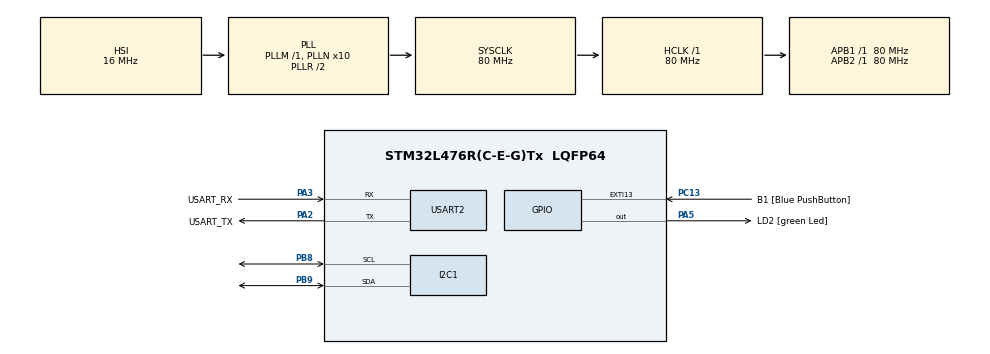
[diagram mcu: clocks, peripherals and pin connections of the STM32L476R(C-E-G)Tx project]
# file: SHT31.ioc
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I2C1.Timing=0x10D19CE4
Mcu.Family=STM32L4
Mcu.Name=STM32L476R(C-E-G)Tx
Mcu.Package=LQFP64
NVIC.PriorityGroup=NVIC_PRIORITYGROUP_4
PA13\ (JTMS-SWDIO).GPIO_Label=TMS
PA13\ (JTMS-SWDIO).Mode=Serial_Wire
PA13\ (JTMS-SWDIO).Signal=SYS_JTMS-SWDIO
PA14\ (JTCK-SWCLK).GPIO_Label=TCK
PA14\ (JTCK-SWCLK).Mode=Serial_Wire
PA14\ (JTCK-SWCLK).Signal=SYS_JTCK-SWCLK
PA2.GPIO_Label=USART_TX
PA2.GPIO_Mode=GPIO_MODE_AF_PP
PA2.GPIO_PuPd=GPIO_NOPULL
PA2.GPIO_Speed=GPIO_SPEED_FREQ_VERY_HIGH
PA2.Mode=Asynchronous
PA2.Signal=USART2_TX
PA3.GPIO_Label=USART_RX
PA3.GPIO_Mode=GPIO_MODE_AF_PP
PA3.GPIO_PuPd=GPIO_NOPULL
PA3.GPIO_Speed=GPIO_SPEED_FREQ_VERY_HIGH
PA3.Mode=Asynchronous
PA3.Signal=USART2_RX
PA5.GPIO_Label=LD2 [green Led]
PA5.GPIO_ModeDefaultOutputPP=GPIO_MODE_OUTPUT_PP
PA5.GPIO_PuPd=GPIO_NOPULL
PA5.GPIO_Speed=GPIO_SPEED_FREQ_LOW
PA5.Signal=GPIO_Output
PB3\ (JTDO-TRACESWO).GPIO_Label=SWO
PB3\ (JTDO-TRACESWO).Signal=SYS_JTDO-SWO
PB8.Mode=I2C
PB8.Signal=I2C1_SCL
PB9.Mode=I2C
PB9.Signal=I2C1_SDA
PC13.GPIO_Label=B1 [Blue PushButton]
PC13.GPIO_ModeDefaultEXTI=GPIO_MODE_IT_FALLING
PC13.GPIO_PuPd=GPIO_NOPULL
PC13.Signal=GPXTI13
PC14-OSC32_IN\ (PC14).Mode=LSE-External-Oscillator
PC14-OSC32_IN\ (PC14).Signal=RCC_OSC32_IN
PC15-OSC32_OUT\ (PC15).Mode=LSE-External-Oscillator
PC15-OSC32_OUT\ (PC15).Signal=RCC_OSC32_OUT
PH0-OSC_IN\ (PH0).Signal=RCC_OSC_IN
PH1-OSC_OUT\ (PH1).Signal=RCC_OSC_OUT
ProjectManager.HeapSize=0x200
ProjectManager.StackSize=0x400
ProjectManager.TargetToolchain=STM32CubeIDE
RCC.ADCFreq_Value=64000000
RCC.AHBFreq_Value=80000000
RCC.APB1Freq_Value=80000000
RCC.APB1TimFreq_Value=80000000
RCC.APB2Freq_Value=80000000
RCC.APB2TimFreq_Value=80000000
RCC.CortexFreq_Value=80000000
RCC.HCLKFreq_Value=80000000
RCC.HSE_VALUE=8000000
RCC.HSI_VALUE=16000000
RCC.MSI_VALUE=4000000
RCC.PLLN=10
RCC.PLLSourceVirtual=RCC_PLLSOURCE_HSI
RCC.PREFETCH_ENABLE=1
RCC.SYSCLKFreq_VALUE=80000000
RCC.SYSCLKSource=RCC_SYSCLKSOURCE_PLLCLK
RCC.USBFreq_Value=64000000
RCC.VCOOutputFreq_Value=160000000
USART2.VirtualMode-Asynchronous=VM_ASYNC
board=NUCLEO-L476RG

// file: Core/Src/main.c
/* USER CODE BEGIN Header */
/**
  ******************************************************************************
  * @file           : main.c
  * @brief          : Main program body
  ******************************************************************************
  * @attention
  *
  * Copyright (c) 2025 STMicroelectronics.
  * All rights reserved.
  *
  * This software is licensed under terms that can be found in the LICENSE file
  * in the root directory of this software component.
  * If no LICENSE file comes with this software, it is provided AS-IS.
  *
  ******************************************************************************
  */
/* USER CODE END Header */
#include "main.h"
#include "i2c.h"
#include "usart.h"
#include "gpio.h"

/* USER CODE BEGIN Includes */
#include "lcd.h"
#include "stdio.h"
#include "stdlib.h"
/* USER CODE END Includes */

/* USER CODE BEGIN PTD */
#define SHT31_ADDR (0x44 << 1)  // Adresse I2C du SHT31 (dépend du câblage ADDR)
uint8_t cmd[2] = {0x24, 0x00};  // Commande pour lancer une mesure
uint8_t data[6];  // Réponse du capteur (6 octets)
rgb_lcd lcd_config;

/* USER CODE END PTD */

void SystemClock_Config(void);

int main(void)
{

  /* MCU Configuration--------------------------------------------------------*/

  /* Reset of all peripherals, Initializes the Flash interface and the Systick. */
  HAL_Init();

  /* Configure the system clock */
  SystemClock_Config();

  /* Initialize all configured peripherals */
  MX_GPIO_Init();
  MX_USART2_UART_Init();
  MX_I2C1_Init();
  /* USER CODE BEGIN 2 */
  // Initialisation de l'écran LCD
  lcd_init(&hi2c1, &lcd_config);

  // Exemple 1 : Affichage de texte simple
  lcd_position(&hi2c1, 0, 0);  // Positionnement du curseur (ligne 0, colonne 0)
  lcd_print(&hi2c1, "BUREAU D'ETUDE!"); // Affichage du message "Hello, World!"

  // Exemple 2 : Affichage sur la deuxième ligne
  lcd_position(&hi2c1, 0, 1);  // Positionnement du curseur (ligne 1, colonne 0)
  lcd_print(&hi2c1, "STM32");  // Affichage du message "STM32 + LCD"

  // Exemple 3 : Changer la couleur du rétroéclairage
  reglagecouleur(255, 0, 0); // Rouge
  HAL_Delay(1000); // Attendre 1 seconde
  reglagecouleur(0, 255, 0); // Vert
  HAL_Delay(1000); // Attendre 1 seconde
  reglagecouleur(0, 0, 255); // Bleu
  HAL_Delay(1000); // Attendre 1 seconde
  //reglagecouleur(255, 255, 255); // Blanc

  // Exemple 4 : Effacer l'écran
  HAL_Delay(2000); // Attendre 2 secondes
  clearlcd(); // Efface tout ce qui s'affiche

  //Capteur

  HAL_Delay(2000); // Attendre 2 secondes
  clearlcd(); // Efface tout ce qui s'affiche

  /* USER CODE END 2 */

  /* Infinite loop */
  /* USER CODE BEGIN WHILE */
  char buffer_temp[50];
  char buffer_humi[50];

  while (1) {
      // 1️⃣ Envoi de la commande de mesure
      if (HAL_I2C_Master_Transmit(&hi2c1, SHT31_ADDR, cmd, 2, HAL_MAX_DELAY) != HAL_OK) {
          lcd_position(&hi2c1, 0, 0);
          lcd_print(&hi2c1, "I2C TX Error");
          HAL_Delay(2000);
          continue;
      }

      HAL_Delay(100);

      // 2️⃣ Réception des données
      if (HAL_I2C_Master_Receive(&hi2c1, SHT31_ADDR, data, 6, HAL_MAX_DELAY) != HAL_OK) {
          lcd_position(&hi2c1, 0, 0);
          lcd_print(&hi2c1, "I2C RX Error");
          HAL_Delay(2000);
          continue;
      }

      // 3️⃣ Vérification des données reçues
      if (data[0] == 0x00 && data[1] == 0x00 && data[3] == 0x00 && data[4] == 0x00) {
          lcd_position(&hi2c1, 0, 0);
          lcd_print(&hi2c1, "Capteur NOK");
          HAL_Delay(2000);
          continue;
      }

      // 4️⃣ Traitement des données reçues
      uint16_t ligne_temperature = (data[0] << 8) | data[1];
      uint16_t ligne_humidite = (data[3] << 8) | data[4];

      int temp_int = (-45 * 100 + (175 * (int)ligne_temperature) / 655);  // Multiplié par 100
      int humi_int = (100 * (int)ligne_humidite) / 655;                   // Multiplié par 100

      char buffer_temp[10];
      char buffer_humi[10];

      sprintf(buffer_temp, "%d.%d", temp_int / 100, temp_int % 100);
      sprintf(buffer_humi, "%d.%d", humi_int / 100, humi_int % 100);

      // 5️⃣ Affichage sur LCD
      lcd_position(&hi2c1, 0, 0);
      lcd_print(&hi2c1, "TEMP: ");

      lcd_position(&hi2c1, 6, 0);
      lcd_print(&hi2c1, buffer_temp);

      lcd_position(&hi2c1, 12, 0);
      lcd_print(&hi2c1, "C");

      lcd_position(&hi2c1, 0, 1);
      lcd_print(&hi2c1, "HUMI:");

      lcd_position(&hi2c1, 6, 1);
      lcd_print(&hi2c1, buffer_humi);

      lcd_position(&hi2c1, 12, 1);
      lcd_print(&hi2c1, "%");

      HAL_Delay(3000);
  }

  /* USER CODE END 3 */
}

void SystemClock_Config(void)
{
  RCC_OscInitTypeDef RCC_OscInitStruct = {0};
  RCC_ClkInitTypeDef RCC_ClkInitStruct = {0};

  /** Configure the main internal regulator output voltage
  */
  if (HAL_PWREx_ControlVoltageScaling(PWR_REGULATOR_VOLTAGE_SCALE1) != HAL_OK)
  {
    Error_Handler();
  }

  /** Initializes the RCC Oscillators according to the specified parameters
  * in the RCC_OscInitTypeDef structure.
  */
  RCC_OscInitStruct.OscillatorType = RCC_OSCILLATORTYPE_HSI;
  RCC_OscInitStruct.HSIState = RCC_HSI_ON;
  RCC_OscInitStruct.HSICalibrationValue = RCC_HSICALIBRATION_DEFAULT;
  RCC_OscInitStruct.PLL.PLLState = RCC_PLL_ON;
  RCC_OscInitStruct.PLL.PLLSource = RCC_PLLSOURCE_HSI;
  RCC_OscInitStruct.PLL.PLLM = 1;
  RCC_OscInitStruct.PLL.PLLN = 10;
  RCC_OscInitStruct.PLL.PLLP = RCC_PLLP_DIV7;
  RCC_OscInitStruct.PLL.PLLQ = RCC_PLLQ_DIV2;
  RCC_OscInitStruct.PLL.PLLR = RCC_PLLR_DIV2;
  if (HAL_RCC_OscConfig(&RCC_OscInitStruct) != HAL_OK)
  {
    Error_Handler();
  }

  /** Initializes the CPU, AHB and APB buses clocks
  */
  RCC_ClkInitStruct.ClockType = RCC_CLOCKTYPE_HCLK|RCC_CLOCKTYPE_SYSCLK
                              |RCC_CLOCKTYPE_PCLK1|RCC_CLOCKTYPE_PCLK2;
  RCC_ClkInitStruct.SYSCLKSource = RCC_SYSCLKSOURCE_PLLCLK;
  RCC_ClkInitStruct.AHBCLKDivider = RCC_SYSCLK_DIV1;
  RCC_ClkInitStruct.APB1CLKDivider = RCC_HCLK_DIV1;
  RCC_ClkInitStruct.APB2CLKDivider = RCC_HCLK_DIV1;

  if (HAL_RCC_ClockConfig(&RCC_ClkInitStruct, FLASH_LATENCY_4) != HAL_OK)
  {
    Error_Handler();
  }
}

void Error_Handler(void)
{
  __disable_irq();
  while (1)
  {
  }
}
